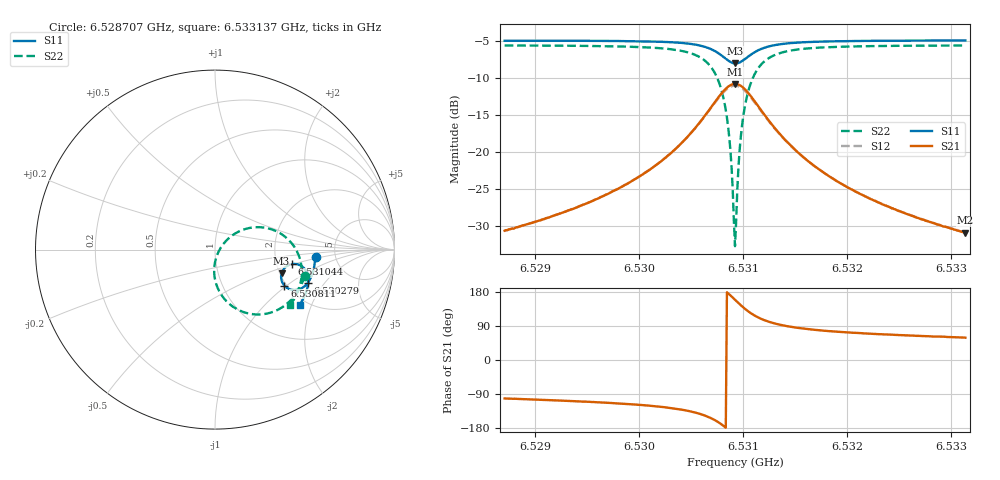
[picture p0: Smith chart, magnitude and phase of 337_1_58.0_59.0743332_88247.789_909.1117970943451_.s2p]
#  HZ  S  RI  R  50.00
! Rohde & Schwarz Vector Network Analyzer
! Rohde-Schwarz,ZNB20-2Port,1311601062101988,3.16
! Created: UTC 3/21/2024, 1:05:20 AM
! freq[Hz]  re:S11  im:S11  re:S21  im:S21  re:S12  im:S12  re:S22  im:S22
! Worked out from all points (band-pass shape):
!   401 points, 6.528707 GHz to 6.533137 GHz, reference 50 ohm
!   highest |S21| = -10.85 dB at 6.530922 GHz (marker M1); lowest = -31.0 dB at 6.533137 GHz (marker M2)
!   |S21| within 3 dB of the highest: 6.530701 GHz to 6.531144 GHz (443.5 kHz wide, 0.00679 % of centre)
!   lowest |S11| = -8.1 dB at 6.530922 GHz (marker M3), VSWR 2.30, Z = 102 - j31.9 ohm
!   |S11| at or under -10 dB: nowhere
!   |S22| runs from -32.8 to -5.7 dB; largest |S21 - S12| = 0.011
!   S11 on the Smith chart (normalised r, x): 6.528707 GHz: 3.50, -0.43; 6.530279 GHz: 2.62, -1.38; 6.530811 GHz: 1.95, -0.97; 6.531044 GHz: 2.43, -0.48; 6.533137 GHz: 1.82, -1.65
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6.5287066e9  0.5599 -0.0415  -0.00584 -0.0286  -0.00636 -0.0285  0.5005 -0.146
6.5294487e9  0.5511 -0.1024  -0.0144 -0.0408  -0.0154 -0.0406  0.4721 -0.2132
6.5301908e9  0.5246 -0.1737  -0.0457 -0.0703  -0.0476 -0.0692  0.3959 -0.3061
6.5302794e9  0.5179 -0.1842  -0.055 -0.0763  -0.0572 -0.0749  0.3759 -0.3207
6.5304898e9  0.492 -0.2099  -0.0935 -0.0922  -0.0963 -0.0892  0.2991 -0.3543
6.5306449e9  0.4543 -0.225  -0.1522 -0.0951  -0.1544 -0.0893  0.1908 -0.3568
6.5307446e9  0.4157 -0.2207  -0.2122 -0.0719  -0.2119 -0.0633  0.0882 -0.3093
6.5308111e9  0.3871 -0.2009  -0.2547 -0.0278  -0.2509 -0.0186  0.0216 -0.2283
6.5308664e9  0.3705 -0.1702  -0.2761 0.0319  -0.2685 0.0398  -0.00462 -0.1252
6.5308997e9  0.3684 -0.1473  -0.2754 0.0744  -0.2661 0.0798  0.00344 -0.0556
6.5309107e9  0.3693 -0.1394  -0.2722 0.0886  -0.2628 0.0931  0.0109 -0.0324
6.5309218e9  0.3711 -0.1316  -0.2678 0.1026  -0.2581 0.1062  0.0205 -0.0102
6.5309329e9  0.3738 -0.1243  -0.2618 0.116  -0.2522 0.1187  0.0322 0.0109
6.530944e9  0.3772 -0.1171  -0.2547 0.1286  -0.2451 0.1306  0.046 0.0305
6.5309661e9  0.3861 -0.1044  -0.2371 0.1513  -0.228 0.1516  0.0785 0.0649
6.5309883e9  0.3972 -0.0942  -0.2163 0.1696  -0.2081 0.1686  0.1155 0.0917
6.5310437e9  0.4284 -0.0807  -0.1599 0.1945  -0.1542 0.1919  0.2136 0.1236
6.5311212e9  0.4666 -0.0841  -0.0925 0.1927  -0.0895 0.1901  0.3266 0.1085
6.5312319e9  0.4989 -0.1065  -0.0357 0.1633  -0.0342 0.1618  0.4192 0.0447
6.5316639e9  0.5203 -0.1821  0.0138 0.0809  0.0147 0.0805  0.4831 -0.1308
6.532406e9  0.5002 -0.2548  0.0165 0.0388  0.0171 0.0386  0.4556 -0.2461
6.533137e9  0.4719 -0.3082  0.0146 0.0242  0.0151 0.0241  0.4202 -0.3082
